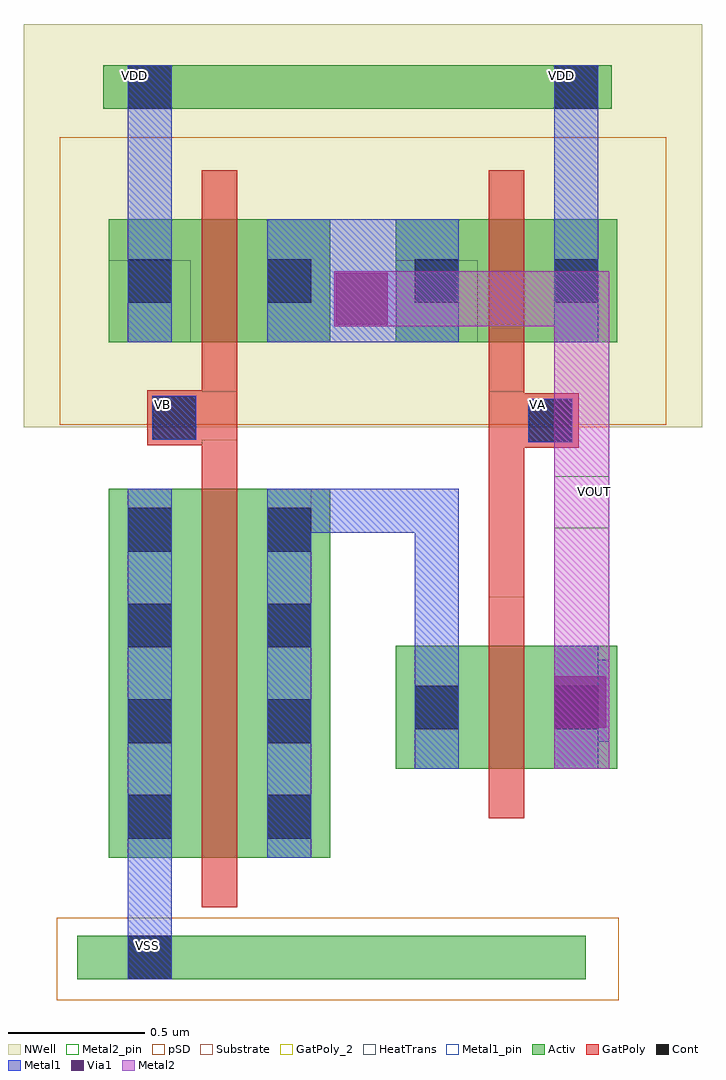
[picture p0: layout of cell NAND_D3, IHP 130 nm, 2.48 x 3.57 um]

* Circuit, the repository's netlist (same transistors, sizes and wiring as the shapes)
* Extracted by KLayout with SG13G2 LVS runset on : 24/01/2026 14:56

.SUBCKT NAND_D3 VB VA
M$1 \$5 VB \$6 \$4 sg13_lv_nmos L=0.13u W=0.45u AS=0.153p AD=0.153p PS=1.58u
+ PD=1.58u
M$2 \$6 VA \$4 \$4 sg13_lv_nmos L=0.13u W=1.35u AS=0.459p AD=0.459p PS=3.38u
+ PD=3.38u
M$3 \$3 VB \$5 \$3 sg13_lv_pmos L=0.13u W=0.45u AS=0.153p AD=0.153p PS=1.58u
+ PD=1.58u
M$4 \$5 VA \$3 \$3 sg13_lv_pmos L=0.13u W=0.45u AS=0.153p AD=0.153p PS=1.58u
+ PD=1.58u
.ENDS NAND_D3

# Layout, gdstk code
from math import pi, radians
import gdstk
lib = gdstk.Library(unit=1e-6, precision=5e-09)
def R(c, l, rs):  # rectangles x0, y0, x1, y1
    for r in rs: c.add(gdstk.rectangle(r[:2], r[2:], *l))
def A(c, l, x, y, w, h, nx, ny, dx, dy):  # array of equal rectangles
    R(c, l, [(x+i*dx, y+j*dy, x+i*dx+w, y+j*dy+h) for i in range(nx) for j in range(ny)])
Activ = (1, 0)
GatPoly = (5, 0)
GatPoly_2 = (5, 2)
Cont = (6, 0)
Metal1 = (8, 0)
Metal1_pin = (8, 2)
Metal2 = (10, 0)
Metal2_pin = (10, 2)
pSD = (14, 0)
Via1 = (19, 0)
NWell = (31, 0)
Substrate = (40, 0)
HeatTrans = (51, 0)

pmos = lib.new_cell('pmos')
R(pmos, Activ, [(0,0,0.3,0.3), (0,0,0.81,0.45), (0.51,0,0.81,0.3)])
R(pmos, GatPoly, [(0.34,-0.18,0.47,0.63), (0.34,-0.18,0.47,0.63)])
R(pmos, Cont, [(0.07,0.145,0.23,0.305), (0.58,0.145,0.74,0.305)])
R(pmos, Metal1, [(0.07,0,0.23,0.45), (0.07,0,0.23,0.45), (0.58,0,0.74,0.45), (0.58,0,0.74,0.45)])
R(pmos, pSD, [(-0.18,-0.3,0.99,0.75)])
R(pmos, NWell, [(-0.31,-0.31,1.12,0.76)])
R(pmos, Substrate, [(0.51,0,0.81,0.3)])
R(pmos, HeatTrans, [(0.34,-0.18,0.47,0.63)])
pmos.add(gdstk.Label('pmos', (0.405,0.225), layer=63, texttype=0))
pmos.add(gdstk.Label('pmos', (0.405,0.225), layer=51, texttype=0))

nmos_1 = lib.new_cell('nmos$1')
R(nmos_1, Activ, [(0,0,0.3,0.3), (0,0,0.81,1.35), (0.51,0,0.81,0.3)])
R(nmos_1, GatPoly, [(0.34,-0.18,0.47,1.53)])
R(nmos_1, GatPoly_2, [(0.34,-0.18,0.47,1.53)])
A(nmos_1, Cont, 0.07, 0.07, 0.16, 0.16, 1, 4, 0, 0.35)
A(nmos_1, Cont, 0.58, 0.07, 0.16, 0.16, 1, 4, 0, 0.35)
R(nmos_1, Metal1, [(0.07,0,0.23,1.35), (0.58,0,0.74,1.35)])
R(nmos_1, Metal1_pin, [(0.07,0,0.23,1.35), (0.58,0,0.74,1.35)])
R(nmos_1, HeatTrans, [(0.34,-0.18,0.47,1.53)])
nmos_1.add(gdstk.Label('nmos', (0.405,0.675), layer=63, texttype=0))
nmos_1.add(gdstk.Label('nmos', (0.405,0.675), layer=51, texttype=0))

nmos = lib.new_cell('nmos')
R(nmos, Activ, [(0,0,0.3,0.3), (0,0,0.81,0.45), (0.51,0,0.81,0.3)])
R(nmos, GatPoly, [(0.34,-0.18,0.47,0.63)])
R(nmos, GatPoly_2, [(0.34,-0.18,0.47,0.63)])
R(nmos, Cont, [(0.07,0.145,0.23,0.305), (0.58,0.145,0.74,0.305)])
R(nmos, Metal1, [(0.07,0,0.23,0.45), (0.58,0,0.74,0.45)])
R(nmos, Metal1_pin, [(0.07,0,0.23,0.45), (0.58,0,0.74,0.45)])
R(nmos, HeatTrans, [(0.34,-0.18,0.47,0.63)])
nmos.add(gdstk.Label('nmos', (0.405,0.225), layer=63, texttype=0))
nmos.add(gdstk.Label('nmos', (0.405,0.225), layer=51, texttype=0))

nand_d3 = lib.new_cell('NAND_D3')
R(nand_d3, Activ, [(-0.055,-1.08,1.805,-0.92), (0.04,2.105,1.9,2.265)])
R(nand_d3, GatPoly, [(1.45,0.31,1.58,1.07), (0.4,0.78,0.53,1.07), (1.58,0.865,1.78,1.065), (0.2,0.875,0.4,1.075)])
R(nand_d3, Cont, [(0.13,-1.08,0.29,-0.92), (1.595,0.885,1.755,1.045), (0.22,0.895,0.38,1.055), (0.13,2.105,0.29,2.265), (1.69,2.105,1.85,2.265)])
R(nand_d3, Metal1, [(0.13,-1.08,0.29,-0.545), (1.69,-0.21,1.89,0.09), (1.595,0.885,1.755,1.045), (0.22,0.895,0.38,1.055), (0.64,1.25,1.34,1.7), (0.13,1.55,0.29,2.265), (1.69,1.55,1.85,2.265)])
R(nand_d3, Metal1_pin, [(0.13,-1.08,0.29,-0.92), (1.595,0.885,1.755,1.045), (0.22,0.895,0.38,1.055), (0.13,2.105,0.29,2.265), (1.69,2.105,1.85,2.265)])
R(nand_d3, Metal2_pin, [(1.69,0.57,1.89,0.76)])
R(nand_d3, pSD, [(-0.13,-1.155,1.925,-0.855)])
R(nand_d3, Via1, [(1.69,-0.16,1.88,0.03), (0.89,1.315,1.08,1.505)])
R(nand_d3, NWell, [(-0.25,2.01,2.23,2.415)])
nand_d3.add(gdstk.FlexPath([(1.26,0.13),(1.26,0.635),(0.72,0.635),(0.72,0.44)], 0.16, ends="flush", simple_path=True, layer=8, datatype=0))  # Metal1
nand_d3.add(gdstk.FlexPath([(0.885,1.41),(1.79,1.41),(1.79,-0.31)], 0.2, ends="flush", simple_path=True, layer=10, datatype=0))  # Metal2
nand_d3.add(gdstk.Reference(pmos, (1.92,1.25), rotation=pi, x_reflection=True))
nand_d3.add(gdstk.Reference(pmos, (0.87,1.25), rotation=pi, x_reflection=True))
nand_d3.add(gdstk.Reference(nmos_1, (0.87,-0.635), rotation=pi, x_reflection=True))
nand_d3.add(gdstk.Reference(nmos, (1.92,-0.31), rotation=pi, x_reflection=True))
nand_d3.add(gdstk.Label('VB', (0.255,1.025), layer=8, texttype=2))
nand_d3.add(gdstk.Label('VA', (1.63,1.025), layer=8, texttype=2))
nand_d3.add(gdstk.Label('VDD', (1.715,2.225), layer=8, texttype=2))
nand_d3.add(gdstk.Label('VDD', (0.155,2.225), layer=8, texttype=2))
nand_d3.add(gdstk.Label('VSS', (0.2,-0.955), layer=8, texttype=2))
nand_d3.add(gdstk.Label('VOUT', (1.835,0.705), layer=10, texttype=2))

lib.write_gds('NAND_D3.gds')
